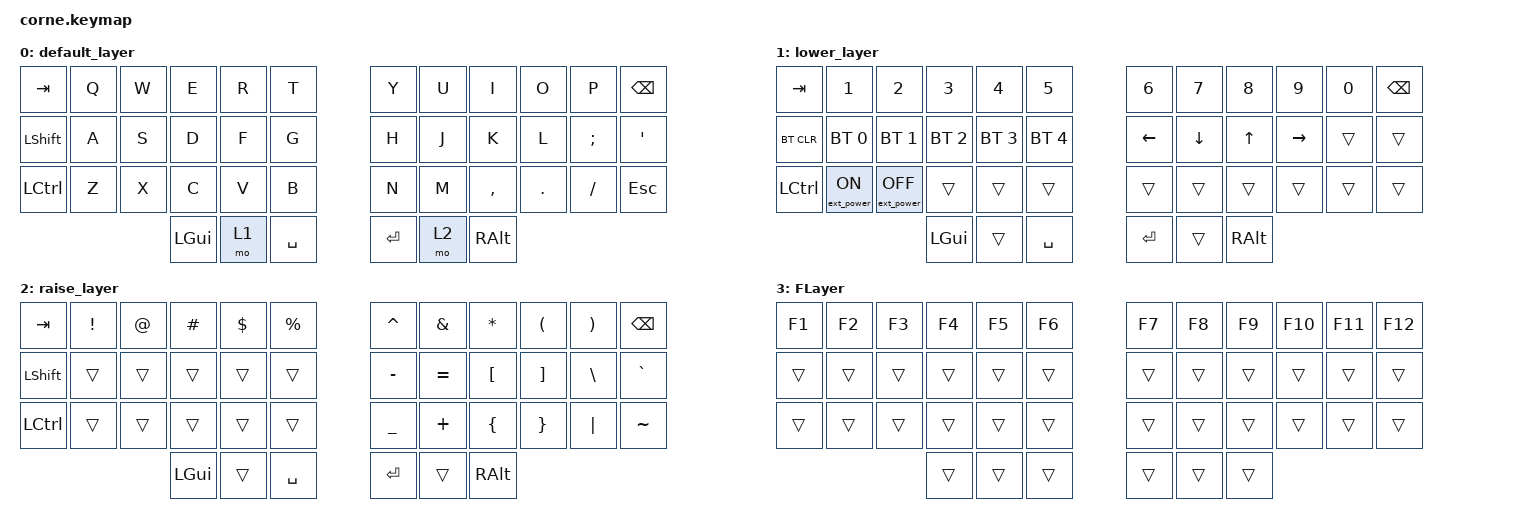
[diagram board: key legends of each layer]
/*
 * Copyright (c) 2020 The ZMK Contributors
 *
 * SPDX-License-Identifier: MIT
 */

#include <behaviors.dtsi>
#include <dt-bindings/zmk/bt.h>
#include <dt-bindings/zmk/ext_power.h>
#include <dt-bindings/zmk/keys.h>

/ {
    keymap {
        compatible = "zmk,keymap";

        default_layer {
            // -----------------------------------------------------------------------------------------
            // |  TAB |  Q  |  W  |  E  |  R  |  T  |   |  Y  |  U   |  I  |  O  |  P  | BSPC |
            // | SHFT |  A  |  S  |  D  |  F  |  G  |   |  H  |  J   |  K  |  L  |  ;  |  '   |
            // | CTRL |  Z  |  X  |  C  |  V  |  B  |   |  N  |  M   |  ,  |  .  |  /  | ESC  |
            //                    | GUI | LWR | SPC |   | ENT | RSE  | ALT |

            bindings = <
&kp TAB    &kp Q  &kp W  &kp E     &kp R  &kp T        &kp Y    &kp U  &kp I      &kp O    &kp P     &kp BSPC
&kp LSHFT  &kp A  &kp S  &kp D     &kp F  &kp G        &kp H    &kp J  &kp K      &kp L    &kp SEMI  &kp SQT
&kp LCTRL  &kp Z  &kp X  &kp C     &kp V  &kp B        &kp N    &kp M  &kp COMMA  &kp DOT  &kp FSLH  &kp ESC
                         &kp LGUI  &mo 1  &kp SPACE    &kp RET  &mo 2  &kp RALT
            >;
        };

        lower_layer {
            // -----------------------------------------------------------------------------------------
            // |  TAB |  1  |  2  |  3  |  4  |  5  |   |  6  |  7  |  8  |  9  |  0  | BSPC |
            // | BTCLR| BT1 | BT2 | BT3 | BT4 | BT5 |   | LFT | DWN |  UP | RGT |     |      |
            // | CTRL |     |     |     |     |     |   |     |     |     |     |     |      |
            //                    | GUI |     | SPC |   | ENT |     | ALT |

            bindings = <
&kp TAB     &kp N1            &kp N2             &kp N3        &kp N4        &kp N5          &kp N6    &kp N7    &kp N8    &kp N9     &kp N0  &kp BSPC
&bt BT_CLR  &bt BT_SEL 0      &bt BT_SEL 1       &bt BT_SEL 2  &bt BT_SEL 3  &bt BT_SEL 4    &kp LEFT  &kp DOWN  &kp UP    &kp RIGHT  &trans  &trans
&kp LCTRL   &ext_power EP_ON  &ext_power EP_OFF  &trans        &trans        &trans          &trans    &trans    &trans    &trans     &trans  &trans
                                                 &kp LGUI      &trans        &kp SPACE       &kp RET   &trans    &kp RALT
            >;
        };

        raise_layer {
            // -----------------------------------------------------------------------------------------
            // |  TAB |  !  |  @  |  #  |  $  |  %  |   |  ^  |  &  |  *  |  (  |  )  | BSPC |
            // | SHFT |     |     |     |     |     |   |  -  |  =  |  [  |  ]  |  \  |  `   |
            // | CTRL |     |     |     |     |     |   |  _  |  +  |  {  |  }  | "|" |  ~   |
            //                    | GUI |     | SPC |   | ENT |     | ALT |

            bindings = <
&kp TAB    &kp EXCL  &kp AT  &kp HASH  &kp DLLR  &kp PRCNT    &kp CARET  &kp AMPS   &kp ASTRK  &kp LPAR  &kp RPAR  &kp BSPC
&kp LSHFT  &trans    &trans  &trans    &trans    &trans       &kp MINUS  &kp EQUAL  &kp LBKT   &kp RBKT  &kp BSLH  &kp GRAVE
&kp LCTRL  &trans    &trans  &trans    &trans    &trans       &kp UNDER  &kp PLUS   &kp LBRC   &kp RBRC  &kp PIPE  &kp TILDE
                             &kp LGUI  &trans    &kp SPACE    &kp RET    &trans     &kp RALT
            >;
        };

        FLayer {
            bindings = <
&kp F1  &kp F2  &kp F3  &kp F4  &kp F5  &kp F6    &kp F7  &kp F8  &kp F9  &kp F10  &kp F11  &kp F12
&trans  &trans  &trans  &trans  &trans  &trans    &trans  &trans  &trans  &trans   &trans   &trans
&trans  &trans  &trans  &trans  &trans  &trans    &trans  &trans  &trans  &trans   &trans   &trans
                        &trans  &trans  &trans    &trans  &trans  &trans
            >;
        };
    };
};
